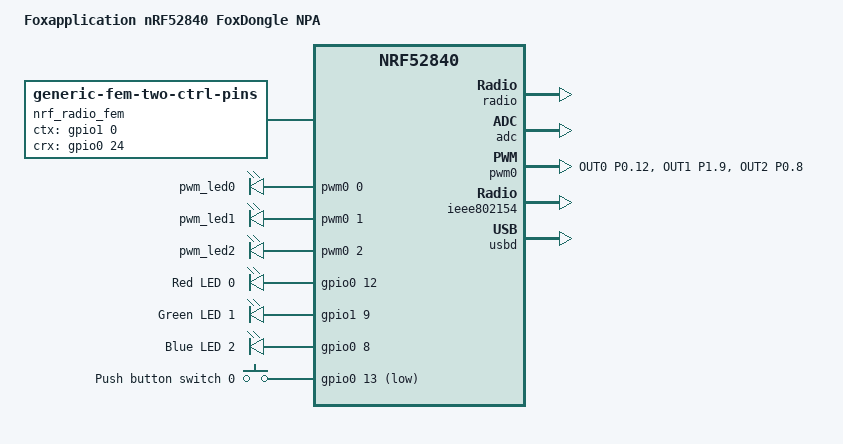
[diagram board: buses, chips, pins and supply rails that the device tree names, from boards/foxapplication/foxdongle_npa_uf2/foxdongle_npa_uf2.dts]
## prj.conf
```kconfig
#CONFIG_NCS_SAMPLES_DEFAULTS
CONFIG_ASSERT=y
CONFIG_ASSERT_NO_COND_INFO=y
CONFIG_ASSERT_NO_MSG_INFO=y
CONFIG_RESET_ON_FATAL_ERROR=n
CONFIG_REBOOT=y

CONFIG_NCS_APPLICATION_BOOT_BANNER_STRING="SlimeVR-Tracker-nRF-Receiver"
#CONFIG_NCS_BOOT_BANNER=n
CONFIG_BOOT_BANNER=n

# HEX carries mapped-partition addresses for native UF2 generation.
CONFIG_BUILD_OUTPUT_HEX=y

CONFIG_ESB=y
CONFIG_PICOLIBC=y
CONFIG_CBPRINTF_FP_SUPPORT=y

CONFIG_FPU=y

CONFIG_USB_DEVICE_STACK_NEXT=y
CONFIG_USBD_HID_SUPPORT=y
CONFIG_USBD_CDC_ACM_CLASS=y
CONFIG_CDC_ACM_SERIAL_INITIALIZE_AT_BOOT=n
CONFIG_SLIMEVR_USB_DEVICE_VID=0x1209
CONFIG_SLIMEVR_USB_DEVICE_PID=0x7690
CONFIG_UART_INTERRUPT_DRIVEN=y
#CONFIG_USB_WORKQUEUE_STACK_SIZE=512

CONFIG_SERIAL=y
CONFIG_CONSOLE=y
CONFIG_UART_CONSOLE=y
CONFIG_UART_LINE_CTRL=y

CONFIG_USE_SEGGER_RTT=y
CONFIG_LOG=y
#CONFIG_PRINTK=y
CONFIG_LOG_MODE_DEFERRED=y
CONFIG_LOG_SPEED=y
CONFIG_LOG_BACKEND_RTT=y
CONFIG_USBD_LOG_LEVEL_WRN=y
CONFIG_UDC_DRIVER_LOG_LEVEL_WRN=y
CONFIG_USBD_CDC_ACM_LOG_LEVEL_OFF=y
CONFIG_UDC_BUF_POOL_SIZE=8192
CONFIG_LOG_BUFFER_SIZE=4096
CONFIG_LOG_PROCESS_THREAD_SLEEP_MS=100
CONFIG_LOG_PROCESS_THREAD_STACK_SIZE=1024
CONFIG_LOG_PROCESS_THREAD_STARTUP_DELAY_MS=0

CONFIG_LOG_BACKEND_UART=y
CONFIG_LOG_BACKEND_UART_AUTOSTART=n
CONFIG_LOG_MODE_DEFERRED=y

CONFIG_CONSOLE_SUBSYS=y

CONFIG_NVS_LOG_LEVEL_WRN=y
CONFIG_USBD_HID_LOG_LEVEL_WRN=y

CONFIG_USBD_HID_IN_BUF_COUNT=4
CONFIG_USBD_HID_OUT_BUF_COUNT=4

CONFIG_GPIO=y
CONFIG_PWM=y

CONFIG_NVS=y

CONFIG_FLASH=y
CONFIG_FLASH_PAGE_LAYOUT=y
CONFIG_FLASH_MAP=y
CONFIG_USE_DT_CODE_PARTITION=y

CONFIG_SETTINGS=y
CONFIG_SETTINGS_NVS=y
CONFIG_SETTINGS_RUNTIME=y
CONFIG_SETTINGS_NONE=y

CONFIG_MPU_ALLOW_FLASH_WRITE=y

CONFIG_NVS_LOOKUP_CACHE=y

CONFIG_ESB_MAX_PAYLOAD_LENGTH=72
CONFIG_ESB_TX_FIFO_SIZE=16
CONFIG_ESB_RX_FIFO_SIZE=16
# CONFIG_NRFX_TIMER1=y

#speed up boot? (use internal rc oscillator)
#CONFIG_CLOCK_CONTROL_NRF_K32SRC_RC=y
#speed up boot? (synthesize lf clock)
CONFIG_CLOCK_CONTROL_NRF_K32SRC_SYNTH=y

# dont need it
CONFIG_CRYPTO=n

CONFIG_THREAD_NAME=y
CONFIG_SYSTEM_WORKQUEUE_STACK_SIZE=2048
CONFIG_MAIN_STACK_SIZE=2048

#CONFIG_HEAP_MEM_POOL_SIZE=2048
CONFIG_ISR_STACK_SIZE=1024

CONFIG_RADIO_RF_CHANNEL=84
CONFIG_RADIO_RETRANSMIT_DELAY=310
CONFIG_RADIO_TX_POWER=30

# Disabled while diagnosing a boot-time crash on foxdongle_npa_uf2 (nRF52840):
# device loops on the blue LED and never enumerates over USB. LTO combined with
# local ISR table declaration is a known-fragile pairing in NCS and can corrupt
# interrupt wiring / fault before USB comes up. These only saved firmware size,
# and all boards built fine before they were added (be26058).
#CONFIG_LTO=y
#CONFIG_ISR_TABLES_LOCAL_DECLARATION=y
```

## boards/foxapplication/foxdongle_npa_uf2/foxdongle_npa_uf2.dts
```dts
// Copyright (c) 2024 Nordic Semiconductor ASA
// SPDX-License-Identifier: Apache-2.0

/dts-v1/;
#include <nordic/nrf52840_qiaa.dtsi>
#include <zephyr/dt-bindings/input/input-event-codes.h>

&pinctrl {
	pwm0_default: pwm0_default {
		group1 {
			/* Common-cathode RGB LED (active high): R=P0.12, G=P1.09, B=P0.08 */
			psels = <NRF_PSEL(PWM_OUT0, 0, 12)>,<NRF_PSEL(PWM_OUT1, 1, 9)>,<NRF_PSEL(PWM_OUT2, 0, 8)>;
			nordic,drive-mode = <NRF_DRIVE_D0S1>;
		};
	};

	pwm0_sleep: pwm0_sleep {
		group1 {
			psels = <NRF_PSEL(PWM_OUT0, 0, 12)>,<NRF_PSEL(PWM_OUT1, 1, 9)>,<NRF_PSEL(PWM_OUT2, 0, 8)>;
			low-power-enable;
		};
	};
};

/ {
	model = "Foxapplication nRF52840 FoxDongle NPA";
	compatible = "foxdongle_npa_uf2";

	chosen {
		zephyr,console = &cdc_acm_uart;
		zephyr,shell-uart = &cdc_acm_uart;
		zephyr,uart-mcumgr = &cdc_acm_uart;
		zephyr,bt-mon-uart = &cdc_acm_uart;
		zephyr,bt-c2h-uart = &cdc_acm_uart;
		zephyr,sram = &sram0;
		zephyr,flash = &flash0;
		zephyr,ieee802154 = &ieee802154;
	};

	/* Skyworks RFX2401C front-end module (TX_EN / RX_EN two-pin control) */
	nrf_radio_fem: radio_fem {
		compatible = "generic-fem-two-ctrl-pins";
		ctx-gpios = <&gpio1 0 GPIO_ACTIVE_HIGH>;
		ctx-settle-time-us = <23>;
		crx-gpios = <&gpio0 24 GPIO_ACTIVE_HIGH>;
		crx-settle-time-us = <8>;
		tx-gain-db = <22>;
		rx-gain-db = <12>;
	};

	pwmleds {
		compatible = "pwm-leds";
		pwm_led0: pwm_led_0 {
			pwms = <&pwm0 0 PWM_MSEC(1) PWM_POLARITY_NORMAL>;
		};
		pwm_led1: pwm_led_1 {
			pwms = <&pwm0 1 PWM_MSEC(1) PWM_POLARITY_NORMAL>;
		};
		pwm_led2: pwm_led_2 {
			pwms = <&pwm0 2 PWM_MSEC(1) PWM_POLARITY_NORMAL>;
		};
	};
	leds {
		compatible = "gpio-leds";
		led0: led_0 {
			gpios = <&gpio0 12 GPIO_OPEN_SOURCE>;
			label = "Red LED 0";
		};
		led1: led_1 {
			gpios = <&gpio1 9 GPIO_OPEN_SOURCE>;
			label = "Green LED 1";
		};
		led2: led_2 {
			gpios = <&gpio0 8 GPIO_OPEN_SOURCE>;
			label = "Blue LED 2";
		};
	};

	buttons {
		compatible = "gpio-keys";
		button0: button_0 {
			gpios = <&gpio0 13 (GPIO_PULL_UP | GPIO_ACTIVE_LOW)>;
			label = "Push button switch 0";
			zephyr,code = <INPUT_KEY_0>;
		};
	};

	aliases {
		sw0 = &button0;
		pwm-led0 = &pwm_led0;
		pwm-led1 = &pwm_led1;
		pwm-led2 = &pwm_led2;
		led0 = &led0;
		led1 = &led1;
		led2 = &led2;
		watchdog0 = &wdt0;
	};
};

&reg0 {
	status = "disabled";
};

&reg1 {
	regulator-initial-mode = <NRF5X_REG_MODE_LDO>;
};

&radio {
	fem = <&nrf_radio_fem>;
};

&adc {
	status = "okay";
};

&gpio0 {
	status = "okay";
};

&gpio1 {
	status = "okay";
};

&gpiote {
	status = "okay";
};

&uicr {
	nfct-pins-as-gpios;
	gpio-as-nreset;
};

&pwm0 {
	status = "okay";
	pinctrl-0 = <&pwm0_default>;
	pinctrl-1 = <&pwm0_sleep>;
	pinctrl-names = "default", "sleep";
};

&ieee802154 {
	status = "okay";
};

zephyr_udc0: &usbd {
	compatible = "nordic,nrf-usbd";
	status = "okay";

	cdc_acm_uart: cdc_acm_uart {
		compatible = "zephyr,cdc-acm-uart";
	};
};

&cryptocell {
	status = "disabled";
};

&nfct {
	status = "disabled";
};
```

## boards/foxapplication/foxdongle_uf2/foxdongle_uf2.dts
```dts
// Copyright (c) 2024 Nordic Semiconductor ASA
// SPDX-License-Identifier: Apache-2.0

/dts-v1/;
#include <nordic/nrf52840_qiaa.dtsi>
#include <zephyr/dt-bindings/input/input-event-codes.h>

&pinctrl {
	pwm0_default: pwm0_default {
		group1 {
			/* channel order must match firmware led_pwm_period: ch0=red, ch1=green, ch2=blue */
			psels = <NRF_PSEL(PWM_OUT0, 0, 12)>,<NRF_PSEL(PWM_OUT1, 1, 9)>,<NRF_PSEL(PWM_OUT2, 0, 8)>;
			nordic,drive-mode = <NRF_DRIVE_D0S1>;
		};
	};

	pwm0_sleep: pwm0_sleep {
		group1 {
			psels = <NRF_PSEL(PWM_OUT0, 0, 12)>,<NRF_PSEL(PWM_OUT1, 1, 9)>,<NRF_PSEL(PWM_OUT2, 0, 8)>;
			low-power-enable;
		};
	};
};

/ {
	model = "Foxapplication nRF52840 FoxDongle";
	compatible = "foxdongle_uf2";

	chosen {
		zephyr,console = &cdc_acm_uart;
		zephyr,shell-uart = &cdc_acm_uart;
		zephyr,uart-mcumgr = &cdc_acm_uart;
		zephyr,bt-mon-uart = &cdc_acm_uart;
		zephyr,bt-c2h-uart = &cdc_acm_uart;
		zephyr,sram = &sram0;
		zephyr,flash = &flash0;
		zephyr,ieee802154 = &ieee802154;
	};

	nrf_radio_fem: skyFem {
		compatible = "skyworks,sky66112-11", "radio-fem-two-ctrl-pins";
		ctx-gpios = <&gpio1 0 GPIO_ACTIVE_HIGH>;
		ctx-settle-time-us = <23>;
		crx-gpios = <&gpio0 24 GPIO_ACTIVE_HIGH>;
		crx-settle-time-us = <8>;
		tx-gain-db = <22>;
		rx-gain-db = <12>;
	};

	leds {
		compatible = "gpio-leds";
		led0_green: led_0 {
			gpios = <&gpio1 9 GPIO_ACTIVE_HIGH>;
			label = "Green LED 0";
		};
		led1_red: led_1 {
			gpios = <&gpio0 12 GPIO_ACTIVE_HIGH>;
			label = "Red LED 1";
		};
		led2_blue: led_2 {
			gpios = <&gpio0 8 GPIO_ACTIVE_HIGH>;
			label = "Blue LED 2";
		};
	};


	pwmleds {
		compatible = "pwm-leds";
		/* active-high LEDs: use normal polarity so value 0 = off */
		red_pwm_led: pwm_led_0 {
			pwms = <&pwm0 0 PWM_MSEC(1) PWM_POLARITY_NORMAL>;
		};
		green_pwm_led: pwm_led_1 {
			pwms = <&pwm0 1 PWM_MSEC(1) PWM_POLARITY_NORMAL>;
		};
		blue_pwm_led: pwm_led_2 {
			pwms = <&pwm0 2 PWM_MSEC(1) PWM_POLARITY_NORMAL>;
		};
	};

	buttons {
		compatible = "gpio-keys";
		button0: button_0 {
			gpios = <&gpio0 13 (GPIO_PULL_UP | GPIO_ACTIVE_LOW)>;
			label = "Push button switch 0";
			zephyr,code = <INPUT_KEY_0>;
		};
	};

	aliases {
		sw0 = &button0;
		led0 = &led0_green;
		led1 = &led1_red;
		led2 = &led2_blue;
		led0-green = &led0_green;
		led1-red   = &led1_red;
		led2-blue   = &led2_blue;
		pwm-led0 = &red_pwm_led;
		pwm-led1 = &green_pwm_led;
		pwm-led2 = &blue_pwm_led;
		red-pwm-led = &red_pwm_led;
		green-pwm-led = &green_pwm_led;
		blue-pwm-led = &blue_pwm_led;
		watchdog0 = &wdt0;
	};
};

&reg0 {
	status = "disabled";
};

&reg1 {
	regulator-initial-mode = <NRF5X_REG_MODE_LDO>;
};

&radio {
	fem = <&nrf_radio_fem>;
};

&adc {
	status = "okay";
};

&gpio0 {
	status = "okay";
};

&gpio1 {
	status = "okay";
};

&gpiote {
	status = "okay";
};

&uicr {
	nfct-pins-as-gpios;
	gpio-as-nreset;
};

&pwm0 {
	status = "okay";
	pinctrl-0 = <&pwm0_default>;
	pinctrl-1 = <&pwm0_sleep>;
	pinctrl-names = "default", "sleep";
};

&ieee802154 {
	status = "okay";
};

zephyr_udc0: &usbd {
	compatible = "nordic,nrf-usbd";
	status = "okay";
	cdc_acm_uart: cdc_acm_uart {
		compatible = "zephyr,cdc-acm-uart";
	};
};

&cryptocell {
	status = "disabled";
};

&nfct {
	status = "disabled";
};
```

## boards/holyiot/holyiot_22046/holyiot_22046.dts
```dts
// Copyright (c) 2024 Nordic Semiconductor ASA
// SPDX-License-Identifier: Apache-2.0

/dts-v1/;
#include <nordic/nrf52840_qiaa.dtsi>
#include <zephyr/dt-bindings/input/input-event-codes.h>

&pinctrl {
	pwm0_default: pwm0_default {
		group1 {
			psels = <NRF_PSEL(PWM_OUT0, 0, 8)>,
				<NRF_PSEL(PWM_OUT1, 1, 9)>,
				<NRF_PSEL(PWM_OUT2, 0, 12)>;
			nordic,invert;
		};
	};

	pwm0_sleep: pwm0_sleep {
		group1 {
			psels = <NRF_PSEL(PWM_OUT0, 0, 8)>,
				<NRF_PSEL(PWM_OUT1, 1, 9)>,
				<NRF_PSEL(PWM_OUT2, 0, 12)>;
			low-power-enable;
		};
	};
};

/ {
	model = "Holyiot nRF52840 Dongle Holyiot-22046";
	compatible = "nordic,nrf52840-dongle-nrf52840";

	chosen {
		zephyr,console = &cdc_acm_uart;
		zephyr,shell-uart = &cdc_acm_uart;
		zephyr,uart-mcumgr = &cdc_acm_uart;
		zephyr,bt-mon-uart = &cdc_acm_uart;
		zephyr,bt-c2h-uart = &cdc_acm_uart;
		zephyr,sram = &sram0;
		zephyr,flash = &flash0;
		zephyr,ieee802154 = &ieee802154;
	};

	leds {
		compatible = "gpio-leds";
		led0_green: led_0 {
			gpios = <&gpio0 6 GPIO_ACTIVE_LOW>;
			label = "Green LED 0";
		};
		led1_red: led_1 {
			gpios = <&gpio0 8 GPIO_ACTIVE_LOW>;
			label = "Red LED 1";
		};
		led1_green: led_2 {
			gpios = <&gpio1 9 GPIO_ACTIVE_LOW>;
			label = "Green LED 1";
		};
		led1_blue: led_3 {
			gpios = <&gpio0 12 GPIO_ACTIVE_LOW>;
			label = "Blue LED 1";
		};
	};

	pwmleds {
		compatible = "pwm-leds";
		red_pwm_led: pwm_led_0 {
			pwms = <&pwm0 0 PWM_MSEC(1) PWM_POLARITY_INVERTED>;
		};
		green_pwm_led: pwm_led_1 {
			pwms = <&pwm0 1 PWM_MSEC(1) PWM_POLARITY_INVERTED>;
		};
		blue_pwm_led: pwm_led_2 {
			pwms = <&pwm0 2 PWM_MSEC(1) PWM_POLARITY_INVERTED>;
		};
	};

	aliases {
		led0 = &led0_green;
		led1 = &led1_red;
		led2 = &led1_green;
		led3 = &led1_blue;
		led0-green = &led0_green;
		led1-red   = &led1_red;
		led1-green = &led1_green;
		led1-blue  = &led1_blue;
		pwm-led0 = &red_pwm_led;
		pwm-led1 = &green_pwm_led;
		pwm-led2 = &blue_pwm_led;
		red-pwm-led = &red_pwm_led;
		green-pwm-led = &green_pwm_led;
		blue-pwm-led = &blue_pwm_led;
		mcuboot-led0 = &led0_green;
		watchdog0 = &wdt0;
	};
};

&reg0 {
    status = "disabled";
};

&reg1 {
    regulator-initial-mode = <NRF5X_REG_MODE_LDO>;
};

&adc {
	status = "okay";
};

&gpiote {
	status = "okay";
};

&uicr {
	nfct-pins-as-gpios;
	gpio-as-nreset;
};

&gpio0 {
	status = "okay";
};

&gpio1 {
	status = "okay";
};

&pwm0 {
	status = "okay";
	pinctrl-0 = <&pwm0_default>;
	pinctrl-1 = <&pwm0_sleep>;
	pinctrl-names = "default", "sleep";
};

&ieee802154 {
	status = "okay";
};

zephyr_udc0: &usbd {
	compatible = "nordic,nrf-usbd";
	status = "okay";

	cdc_acm_uart: cdc_acm_uart {
		compatible = "zephyr,cdc-acm-uart";
	};
};
```

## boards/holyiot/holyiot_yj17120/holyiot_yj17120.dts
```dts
// HolyIOT YJ-17120 nRF52840 USB Dongle (no PA / no FEM).
//
// Derived from SlimeVR's holyiot_21017 board, with the external Skyworks
// front-end module (FEM/PA) REMOVED. This dongle is a plain nRF52840-QIAA with
// a chip antenna and NO power amplifier (confirmed from the manufacturer
// schematic in firmware/docs/). Flashing the 21017 target onto it configures
// the radio for a +22 dB external amplifier that isn't present and toggles
// P0.24/P0.22 as PA-control pins, collapsing usable range to ~10 cm.
//
// SPDX-License-Identifier: Apache-2.0

/dts-v1/;
#include <nordic/nrf52840_qiaa.dtsi>
#include <zephyr/dt-bindings/input/input-event-codes.h>

/ {
	model = "Holyiot YJ-17120 nRF52840 Dongle";
	compatible = "nordic,nrf52840-dongle-nrf52840";

	chosen {
		zephyr,console = &cdc_acm_uart;
		zephyr,shell-uart = &cdc_acm_uart;
		zephyr,uart-mcumgr = &cdc_acm_uart;
		zephyr,bt-mon-uart = &cdc_acm_uart;
		zephyr,bt-c2h-uart = &cdc_acm_uart;
		zephyr,sram = &sram0;
		zephyr,flash = &flash0;
		zephyr,ieee802154 = &ieee802154;
	};

	// No nrf_radio_fem node: this board has no external PA/LNA. The radio
	// drives the chip antenna directly. ESB/RADIO TX power is set by the
	// SlimeNRF application to the nRF52840 internal maximum (+8 dBm).

	leds {
		compatible = "gpio-leds";
		// Single red LED: P1.01 -> 510R -> LED -> GND (anode to GPIO),
		// so driving the pin HIGH lights it. (Per YJ-17120 schematic.)
		led0_red: led_0 {
			gpios = <&gpio1 1 GPIO_ACTIVE_HIGH>;
			label = "Red LED 0";
		};
	};

	buttons {
		compatible = "gpio-keys";
		// The YJ-17120 has no user button populated; expose the RESET-adjacent
		// SWD only. Keep a placeholder alias-free so builds that require sw0
		// still need attention rather than silently using a wrong pin.
	};

	aliases {
		led0 = &led0_red;
		watchdog0 = &wdt0;
	};
};

&reg1 {
	regulator-initial-mode = <NRF5X_REG_MODE_LDO>;
};

// &radio intentionally has NO `fem` property — direct-drive antenna.

&gpiote {
	status = "okay";
};

&uicr {
	nfct-pins-as-gpios;
	gpio-as-nreset;
};

&gpio0 {
	status = "okay";
};

&gpio1 {
	status = "okay";
};

&ieee802154 {
	status = "okay";
};

zephyr_udc0: &usbd {
	compatible = "nordic,nrf-usbd";
	status = "okay";

	cdc_acm_uart: cdc_acm_uart {
		compatible = "zephyr,cdc-acm-uart";
	};
};
```

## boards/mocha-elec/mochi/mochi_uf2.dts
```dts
// Copyright (c) 2024 Nordic Semiconductor ASA
// SPDX-License-Identifier: Apache-2.0

/dts-v1/;
#include <nordic/nrf52833_qiaa.dtsi>
#include <zephyr/dt-bindings/input/input-event-codes.h>

&pinctrl {
	pwm0_default: pwm0_default {
		group1 {
			/* channel order must match firmware led_pwm_period: ch0=red, ch1=green, ch2=blue */
			psels = <NRF_PSEL(PWM_OUT0, 0, 20)>,<NRF_PSEL(PWM_OUT1, 0, 9)>,<NRF_PSEL(PWM_OUT2, 0, 17)>;
			nordic,drive-mode = <NRF_DRIVE_D0S1>;
		};
	};

	pwm0_sleep: pwm0_sleep {
		group1 {
			psels = <NRF_PSEL(PWM_OUT0, 0, 20)>,<NRF_PSEL(PWM_OUT1, 0, 9)>,<NRF_PSEL(PWM_OUT2, 0, 17)>;
			low-power-enable;
		};
	};
};

/ {
	model = "Mocha-Elec Mochi nRF52833 Receiver";
	compatible = "mochi_uf2";

	chosen {
		zephyr,console = &cdc_acm_uart;
		zephyr,shell-uart = &cdc_acm_uart;
		zephyr,uart-mcumgr = &cdc_acm_uart;
		zephyr,bt-mon-uart = &cdc_acm_uart;
		zephyr,bt-c2h-uart = &cdc_acm_uart;
		zephyr,sram = &sram0;
		zephyr,flash = &flash0;
		zephyr,ieee802154 = &ieee802154;
	};

	leds {
		compatible = "gpio-leds";
		led0_red: led_0 {
			gpios = <&gpio0 20 GPIO_OPEN_SOURCE>;
			label = "Red LED 0";
		};
		led1_green: led_1 {
			gpios = <&gpio0 9 GPIO_OPEN_SOURCE>;
			label = "Green LED 1";
		};
		led2_blue: led_2 {
			gpios = <&gpio0 17 GPIO_OPEN_SOURCE>;
			label = "Blue LED 2";
		};
	};

	pwmleds {
		compatible = "pwm-leds";
		/* active-high LEDs: use normal polarity so value 0 = off */
		red_pwm_led: pwm_led_0 {
			pwms = <&pwm0 0 PWM_MSEC(1) PWM_POLARITY_NORMAL>;
		};
		green_pwm_led: pwm_led_1 {
			pwms = <&pwm0 1 PWM_MSEC(1) PWM_POLARITY_NORMAL>;
		};
		blue_pwm_led: pwm_led_2 {
			pwms = <&pwm0 2 PWM_MSEC(1) PWM_POLARITY_NORMAL>;
		};
	};

	buttons {
		compatible = "gpio-keys";
		button0: button_0 {
			gpios = <&gpio0 15 (GPIO_PULL_UP | GPIO_ACTIVE_LOW)>;
			label = "Push button switch 0";
			zephyr,code = <INPUT_KEY_0>;
		};
	};

	aliases {
		sw0 = &button0;
		led0 = &led0_red;
		led1 = &led1_green;
		led2 = &led2_blue;
		led0-red   = &led0_red;
		led1-green = &led1_green;
		led2-blue  = &led2_blue;
		pwm-led0 = &red_pwm_led;
		pwm-led1 = &green_pwm_led;
		pwm-led2 = &blue_pwm_led;
		red-pwm-led = &red_pwm_led;
		green-pwm-led = &green_pwm_led;
		blue-pwm-led = &blue_pwm_led;
		watchdog0 = &wdt0;
	};
};

&reg1 {
	regulator-initial-mode = <NRF5X_REG_MODE_DCDC>;
};

&adc {
	status = "okay";
};

&gpio0 {
	status = "okay";
};

&gpio1 {
	status = "okay";
};

&gpiote {
	status = "okay";
};

&uicr {
	/* green LED sits on P0.09 (NFC1) */
	nfct-pins-as-gpios;
};

&pwm0 {
	status = "okay";
	pinctrl-0 = <&pwm0_default>;
	pinctrl-1 = <&pwm0_sleep>;
	pinctrl-names = "default", "sleep";
};

&ieee802154 {
	status = "okay";
};

zephyr_udc0: &usbd {
	compatible = "nordic,nrf-usbd";
	status = "okay";
	cdc_acm_uart: cdc_acm_uart {
		compatible = "zephyr,cdc-acm-uart";
	};
};

&nfct {
	status = "disabled";
};
```

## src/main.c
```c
/*
	SlimeVR Code is placed under the MIT license
	Copyright (c) 2025 SlimeVR Contributors

	Permission is hereby granted, free of charge, to any person obtaining a copy
	of this software and associated documentation files (the "Software"), to deal
	in the Software without restriction, including without limitation the rights
	to use, copy, modify, merge, publish, distribute, sublicense, and/or sell
	copies of the Software, and to permit persons to whom the Software is
	furnished to do so, subject to the following conditions:

	The above copyright notice and this permission notice shall be included in
	all copies or substantial portions of the Software.

	THE SOFTWARE IS PROVIDED "AS IS", WITHOUT WARRANTY OF ANY KIND, EXPRESS OR
	IMPLIED, INCLUDING BUT NOT LIMITED TO THE WARRANTIES OF MERCHANTABILITY,
	FITNESS FOR A PARTICULAR PURPOSE AND NONINFRINGEMENT. IN NO EVENT SHALL THE
	AUTHORS OR COPYRIGHT HOLDERS BE LIABLE FOR ANY CLAIM, DAMAGES OR OTHER
	LIABILITY, WHETHER IN AN ACTION OF CONTRACT, TORT OR OTHERWISE, ARISING FROM,
	OUT OF OR IN CONNECTION WITH THE SOFTWARE OR THE USE OR OTHER DEALINGS IN
	THE SOFTWARE.
*/
#include "globals.h"
#include "system/system.h"
#include "system/led.h"
#include "system/status.h"
#include "connection/esb.h"

#include <zephyr/kernel.h>
#include <zephyr/sys/reboot.h>

#define DFU_EXISTS CONFIG_BUILD_OUTPUT_UF2 || CONFIG_BOARD_HAS_NRF5_BOOTLOADER
#define DFU_DBL_RESET_MEM 0x20007F7C
#define DFU_DBL_RESET_APP 0x4ee5677e

LOG_MODULE_REGISTER(main, LOG_LEVEL_INF);

int main(void)
{
	// Initialize LED system first
	set_led(SYS_LED_PATTERN_ACTIVE_PERSIST, SYS_LED_PRIORITY_SYSTEM);

	// Boot sequence with button detection
	set_led(SYS_LED_PATTERN_ON, SYS_LED_PRIORITY_BOOT);

	uint8_t reboot_counter = reboot_counter_read();
	bool booting_from_shutdown = !reboot_counter;

	// Check if button is pressed during boot
	if (button_read())
	{
		LOG_INF("Button detected during boot");
		int64_t boot_start = k_uptime_get();

		while (button_read())
		{
			int64_t held = k_uptime_get() - boot_start;
			if (held > 5000)
			{
				// Factory reset: the only destructive action, gated behind a
				// deliberate hold-while-plugging-in. Red LED is the commit signal.
				LOG_INF("Boot-time factory reset (clear all pairings)");
				set_led(SYS_LED_PATTERN_ERROR_D, SYS_LED_PRIORITY_HIGHEST);
				esb_clear();
				break;
			}
			if (held > 1000)
				set_led(SYS_LED_PATTERN_LONG, SYS_LED_PRIORITY_HIGHEST);
			k_msleep(10);
		}

		if (k_uptime_get() - boot_start > 5000)
			set_led(SYS_LED_PATTERN_ONESHOT_COMPLETE, SYS_LED_PRIORITY_HIGHEST);
		else if (k_uptime_get() - boot_start > 50) // Short press during boot
			set_led(SYS_LED_PATTERN_ONESHOT_POWERON, SYS_LED_PRIORITY_HIGHEST);
	}
	else if (booting_from_shutdown)
	{
		set_led(SYS_LED_PATTERN_ONESHOT_POWERON, SYS_LED_PRIORITY_BOOT);
	}

	// Clear boot LED priority
	set_led(SYS_LED_PATTERN_OFF, SYS_LED_PRIORITY_BOOT);

	return 0;
}
```

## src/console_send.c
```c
/*
	SlimeVR Code is placed under the MIT license
	Copyright (c) 2025 SlimeVR Contributors

	Permission is hereby granted, free of charge, to any person obtaining a copy
	of this software and associated documentation files (the "Software"), to deal
	in the Software without restriction, including without limitation the rights
	to use, copy, modify, merge, publish, distribute, sublicense, and/or sell
	copies of the Software, and to permit persons to whom the Software is
	furnished to do so, subject to the following conditions:

	The above copyright notice and this permission notice shall be included in
	all copies or substantial portions of the Software.

	THE SOFTWARE IS PROVIDED "AS IS", WITHOUT WARRANTY OF ANY KIND, EXPRESS OR
	IMPLIED, INCLUDING BUT NOT LIMITED TO THE WARRANTIES OF MERCHANTABILITY,
	FITNESS FOR A PARTICULAR PURPOSE AND NONINFRINGEMENT. IN NO EVENT SHALL THE
	AUTHORS OR COPYRIGHT HOLDERS BE LIABLE FOR ANY CLAIM, DAMAGES OR OTHER
	LIABILITY, WHETHER IN AN ACTION OF CONTRACT, TORT OR OTHERWISE, ARISING FROM,
	OUT OF OR IN CONNECTION WITH THE SOFTWARE OR THE USE OR OTHER DEALINGS IN
	THE SOFTWARE.
*/
#include "console_send.h"

#include "rcv_cmd.h"

#include <stdlib.h>
#include <string.h>
#include <zephyr/sys/printk.h>

#define SENS_AUTO_MAX_REVOLUTIONS 100

static void console_send_flag(bool target_all, uint8_t tracker_id, uint8_t flag, const char *name)
{
	uint8_t tid = target_all ? RCV_HID_TARGET_ALL : tracker_id;
	uint8_t st = rcv_cmd_remote_flag(tid, flag);
	if (st == RCV_HID_ST_QUEUED) {
		if (target_all) {
			printk("%s request sent to all active trackers\n", name);
		} else {
			printk("%s request sent to tracker %d\n", name, tracker_id);
		}
	} else {
		printk("%s failed: status %u\n", name, st);
	}
}

void console_handle_send(char *arg, char *arg2, char *arg3, char *arg4, char *arg5)
{
	if (!arg || !arg2) {
		printk("Usage: send <id|all> <command>\n");
		printk("Examples:\n");
		printk("  send 0 shutdown      - Shutdown tracker 0\n");
		printk("  send all shutdown    - Shutdown all active trackers\n");
		printk("  send 1 calibrate     - Zero-bias calibration on tracker 1\n");
		printk("  send 1 calibrate acc - Accelerometer calibration (18 orientations)\n");
		printk("  send all meow        - Make all active trackers meow\n");
		printk("  send 2 reboot        - Reboot tracker 2\n");
		printk("  send 3 clear         - Clear pairing on tracker 3\n");
		printk("  send all dfu         - Enter DFU mode on all active trackers\n");
		printk(
			"Available commands: shutdown, calibrate [acc], meow, scan, mag, reboot, clear, dfu, sens, "
			"reset, ping, tcal, tdma, test, wom enter, wom timeout [minutes]\n"
		);
		return;
	}

	bool target_all = (strcmp(arg, "all") == 0);
	uint8_t tracker_id = 0;

	if (!target_all) {
		char *endptr;
		long id = strtol(arg, &endptr, 10);

		if (*endptr != '\0' || id < 0 || id > 255) {
			printk("Invalid tracker ID. Use a number (0-255) or 'all'\n");
			return;
		}
		tracker_id = (uint8_t)id;
	}

	if (strcmp(arg2, "wom") == 0) {
		bool enter = arg3 && strcmp(arg3, "enter") == 0;
		if (!arg3 || (!enter && strcmp(arg3, "timeout") != 0) ||
		    arg5 || (enter && arg4)) {
			printk("Usage: send <id|all> wom enter | wom timeout [minutes: 0-35791; 0 restores firmware default]\n");
			return;
		}
		uint32_t minutes = enter ? ESB_WOM_ENTER : 0;
		if (arg4) {
			if (!*arg4) {
				printk("Minutes must be an integer from 0 to 35791 (0 restores firmware default)\n");
				return;
			}
			for (const char *p = arg4; *p; p++) {
				if (*p < '0' || *p > '9' || minutes > 35791) {
					printk("Minutes must be an integer from 0 to 35791 (0 restores firmware default)\n");
					return;
				}
				minutes = minutes * 10 + (uint32_t)(*p - '0');
			}
			if (minutes > 35791) {
				printk("Minutes must be an integer from 0 to 35791 (0 restores firmware default)\n");
				return;
			}
			if (minutes == 0) {
				minutes = ESB_WOM_TIMEOUT_CLEAR;
			}
		}
		uint8_t st = rcv_cmd_remote_wom_command(
			target_all ? RCV_HID_TARGET_ALL : tracker_id, (uint16_t)minutes);
		if (st == RCV_HID_ST_STARTED) {
			printk("WOM command queued; waiting for tracker results (entry success means accepted, not asleep)\n");
		} else {
			printk("WOM command request failed: status %u\n", st);
		}
		return;
	}

	uint8_t cmd_flag = 0xFF;
	const char *cmd_name = NULL;

	if (strcmp(arg2, "shutdown") == 0) {
		cmd_flag = ESB_PONG_FLAG_SHUTDOWN;
		cmd_name = "Shutdown";
	} else if (strcmp(arg2, "calibrate") == 0) {
		if (arg4 || arg5 || (arg3 && strcmp(arg3, "acc") != 0)) {
			printk("Usage: send <id|all> calibrate [acc]\n");
			return;
		}
		cmd_flag = arg3 ? ESB_PONG_FLAG_CALIBRATE_ACC : ESB_PONG_FLAG_CALIBRATE;
		cmd_name = arg3 ? "Accelerometer calibration (18 orientations)" : "Zero-bias calibration";
	} else if (strcmp(arg2, "6-side") == 0) {
		if (arg3 || arg4 || arg5) {
			printk("Usage: send <id|all> calibrate acc\n");
			return;
		}
		printk("'6-side' is the historical name; use 'calibrate acc' (18 orientations).\n");
		cmd_flag = ESB_PONG_FLAG_CALIBRATE_ACC;
		cmd_name = "Accelerometer calibration (18 orientations)";
	} else if (strcmp(arg2, "meow") == 0) {
		cmd_flag = ESB_PONG_FLAG_MEOW;
		cmd_name = "Meow";
	} else if (strcmp(arg2, "scan") == 0) {
		cmd_flag = ESB_PONG_FLAG_SCAN;
		cmd_name = "Sensor scan";
	} else if (strcmp(arg2, "mag") == 0) {
		if (!arg3) {
			printk("Usage: send <id|all> mag <on|off|clear|cal|auto on|auto off|hold on|hold off>\n");
			printk("  on       - Enable magnetometer\n");
			printk("  off      - Disable magnetometer\n");
			printk("  clear    - Clear magnetometer calibration\n");
			printk("  cal      - Start magnetometer calibration\n");
			printk("  auto on  - Enable online magnetometer calibration\n");
			printk("  auto off - Disable online magnetometer calibration\n");
			printk("  hold on  - Stop the fusion filter trusting the magnetometer\n");
			printk("  hold off - Resume normal magnetometer fusion\n");
			return;
		}

		uint8_t mag_cmd = 0xFF;
		const char *mag_name = NULL;

		if (strcmp(arg3, "on") == 0) {
			mag_cmd = ESB_PONG_FLAG_MAG_ON;
			mag_name = "Magnetometer enable";
		} else if (strcmp(arg3, "off") == 0) {
			mag_cmd = ESB_PONG_FLAG_MAG_OFF;
			mag_name = "Magnetometer disable";
		} else if (strcmp(arg3, "clear") == 0) {
			mag_cmd = ESB_PONG_FLAG_MAG_CLEAR;
			mag_name = "Magnetometer calibration clear";
		} else if (strcmp(arg3, "cal") == 0 || strcmp(arg3, "calibrate") == 0) {
			mag_cmd = ESB_PONG_FLAG_MAG_CAL;
			mag_name = "Magnetometer calibration";
		} else if (strcmp(arg3, "auto") == 0 || strcmp(arg3, "online") == 0) {
			if (!arg4) {
				printk("Usage: send <id|all> mag %s <on|off>\n", arg3);
				return;
			}
			if (strcmp(arg4, "on") == 0) {
				mag_cmd = ESB_PONG_FLAG_MAG_AUTO_ON;
				mag_name = "Online magnetometer calibration enable";
			} else if (strcmp(arg4, "off") == 0) {
				mag_cmd = ESB_PONG_FLAG_MAG_AUTO_OFF;
				mag_name = "Online magnetometer calibration disable";
			} else {
				printk("Invalid mag %s argument: %s (use 'on' or 'off')\n", arg3, arg4);
				return;
			}
		} else if (strcmp(arg3, "hold") == 0) {
			/* Runtime-only: no fusion restart, no NVS write, cleared by a
			 * tracker reboot. Unlike mag on/off this is safe to toggle. */
			if (!arg4) {
				printk("Usage: send <id|all> mag hold <on|off>\n");
				return;
			}
			if (strcmp(arg4, "on") == 0) {
				mag_cmd = ESB_PONG_FLAG_MAG_HOLD;
				mag_name = "Magnetometer hold enable";
			} else if (strcmp(arg4, "off") == 0) {
				mag_cmd = ESB_PONG_FLAG_MAG_UNHOLD;
				mag_name = "Magnetometer hold disable";
			} else {
				printk("Invalid mag hold argument: %s (use 'on' or 'off')\n", arg4);
				return;
			}
		} else {
			printk(
				"Unknown mag subcommand: %s (use 'on', 'off', 'clear', 'cal', 'auto' or 'hold')\n",
				arg3
			);
			return;
		}

		console_send_flag(target_all, tracker_id, mag_cmd, mag_name);
		return;
	} else if (strcmp(arg2, "reboot") == 0) {
		cmd_flag = ESB_PONG_FLAG_REBOOT;
		cmd_name = "Reboot";
	} else if (strcmp(arg2, "clear") == 0) {
		cmd_flag = ESB_PONG_FLAG_CLEAR;
		cmd_name = "Clear pairing";
	} else if (strcmp(arg2, "dfu") == 0) {
		if (arg3 && strcmp(arg3, "ota") == 0) {
			cmd_flag = ESB_PONG_FLAG_DFU_OTA;
			cmd_name = "OTA DFU mode";
		} else if (!arg3) {
			cmd_flag = ESB_PONG_FLAG_DFU;
			cmd_name = "UF2 DFU mode";
		} else {
			printk("Unknown dfu subcommand: %s (use 'ota' or omit it)\n", arg3);
			return;
		}
	} else if (strcmp(arg2, "fusion") == 0) {
		cmd_flag = ESB_PONG_FLAG_FUSION_RESET;
		cmd_name = "Fusion reset";
	} else if (strcmp(arg2, "channel") == 0) {
		if (!arg3) {
			printk("Usage: send all channel <0-100>\n");
			printk("Example: send all channel 25 - Set all active trackers to channel 25\n");
			return;
		}

		char *endptr;
		long channel = strtol(arg3, &endptr, 10);

		if (*endptr != '\0' || channel < 0 || channel > 100) {
			printk("Invalid channel. Must be a number between 0 and 100.\n");
			return;
		}

		if (!target_all) {
			printk("Channel command only supports 'all' target\n");
			return;
		}

		uint8_t st = rcv_cmd_tracker_channel_all((uint8_t)channel);
		if (st == RCV_HID_ST_STARTED || st == RCV_HID_ST_OK) {
			printk("Setting RF channel to %d for all active trackers and receiver\n", (int)channel);
		}
		return;
	} else if (strcmp(arg2, "clearchannel") == 0) {
		if (!target_all) {
			printk("Clearchannel command only supports 'all' target\n");
			return;
		}

		uint8_t st = rcv_cmd_tracker_channel_clear_all();
		if (st == RCV_HID_ST_STARTED || st == RCV_HID_ST_OK) {
			printk("Clearing RF channel for all active trackers and receiver\n");
		}
		return;
	} else if (strcmp(arg2, "sens") == 0) {
		if (!arg3) {
			printk("Usage: send <id|all> sens <x>,<y>,<z>\n");
			printk("Usage: send <id|all> sens reset\n");
			printk("Usage: send <id|all> sens auto <x|y|z> [revolutions]\n");
			printk("Example: send 0 sens 1.0,1.0,1.0\n");
			printk("Example: send all sens reset\n");
			printk("Example: send 0 sens auto z 5\n");
			return;
		}

		if (strcmp(arg3, "reset") == 0) {
			console_send_flag(target_all, tracker_id, ESB_PONG_FLAG_SENS_RESET, "Sens reset");
		} else if (strcmp(arg3, "auto") == 0) {
			if (!arg4 || arg4[0] == '\0') {
				printk("Usage: send <id|all> sens auto <x|y|z> [revolutions]\n");
				return;
			}

			if (arg4[1] != '\0') {
				printk("Usage: send <id|all> sens auto <x|y|z> [revolutions]\n");
				return;
			}

			uint8_t axis;
			if (arg4[0] == 'x') {
				axis = 0;
			} else if (arg4[0] == 'y') {
				axis = 1;
			} else if (arg4[0] == 'z') {
				axis = 2;
			} else {
				printk("Invalid axis '%s'. Use x, y, or z.\n", arg4);
				return;
			}

			uint16_t revolutions = 0;
			if (arg5 && *arg5) {
				char *endptr;
				long value = strtol(arg5, &endptr, 10);
				if (*endptr != '\0' || value < 1 || value > SENS_AUTO_MAX_REVOLUTIONS) {
					printk("Invalid revolutions '%s'. Use 1 to %u.\n", arg5, SENS_AUTO_MAX_REVOLUTIONS);
					return;
				}
				revolutions = (uint16_t)value;
			}

			uint8_t tid = target_all ? RCV_HID_TARGET_ALL : tracker_id;
			uint8_t st = rcv_cmd_remote_sens_auto(tid, axis, revolutions);
			if (st == RCV_HID_ST_QUEUED) {
				if (target_all) {
					if (revolutions == 0) {
						printk(
							"Sens auto request sent to all active trackers on %c axis using tracker "
							"default rev\n",
							'x' + axis
						);
					} else {
						printk(
							"Sens auto request sent to all active trackers on %c axis for %u rev\n",
							'x' + axis,
							revolutions
						);
					}
				} else if (revolutions == 0) {
					printk(
						"Sens auto request sent to tracker %d on %c axis using tracker default rev\n",
						tracker_id,
						'x' + axis
					);
				} else {
					printk(
						"Sens auto request sent to tracker %d on %c axis for %u rev\n",
						tracker_id,
						'x' + axis,
						revolutions
					);
				}
			} else if (!target_all) {
				printk("Sens auto request not queued: tracker %d is not active or invalid\n", tracker_id);
			}
		} else {
			char *token;
			char *endptr;
			int token_count = 0;
			float values[3];

			token = strtok(arg3, ",");
			while (token != NULL && token_count < 3) {
				values[token_count] = strtof(token, &endptr);
				if (token == endptr || *endptr != '\0') {
					printk("Invalid float value: %s\n", token);
					break;
				}
				token_count++;
				token = strtok(NULL, ",");
			}

			if (token_count == 3) {
				uint8_t tid = target_all ? RCV_HID_TARGET_ALL : tracker_id;
				if (rcv_cmd_remote_sens_set(tid, values[0], values[1], values[2]) == RCV_HID_ST_QUEUED) {
					if (target_all) {
						printk(
							"Sens set (%.2f,%.2f,%.2f) request sent to all active trackers\n",
							(double)values[0],
							(double)values[1],
							(double)values[2]
						);
					} else {
						printk(
							"Sens set (%.2f,%.2f,%.2f) request sent to tracker %d\n",
							(double)values[0],
							(double)values[1],
							(double)values[2],
							tracker_id
						);
					}
				}
			} else {
				printk("Error: Invalid format. Use: sens <x>,<y>,<z> or sens reset\n");
				printk("Example: sens 10.5,-2.1,15.0\n");
			}
		}
		return;
	} else if (strcmp(arg2, "reset") == 0) {
		if (!arg3) {
			printk("Usage: send <id|all> reset <zro|acc|bat|mag|tcal|fusion>\n");
			printk("Example: send 0 reset zro\n");
			printk("Example: send all reset acc\n");
			return;
		}

		uint8_t reset_cmd = 0xFF;
		const char *reset_name = NULL;

		if (strcmp(arg3, "zro") == 0) {
			reset_cmd = ESB_PONG_FLAG_RESET_ZRO;
			reset_name = "ZRO reset";
		} else if (strcmp(arg3, "acc") == 0) {
			reset_cmd = ESB_PONG_FLAG_RESET_ACC;
			reset_name = "Accelerometer reset";
		} else if (strcmp(arg3, "bat") == 0) {
			reset_cmd = ESB_PONG_FLAG_RESET_BAT;
			reset_name = "Battery reset";
		} else if (strcmp(arg3, "mag") == 0) {
			reset_cmd = ESB_PONG_FLAG_MAG_CLEAR;
			reset_name = "Magnetometer calibration reset";
		} else if (strcmp(arg3, "tcal") == 0) {
			reset_cmd = ESB_PONG_FLAG_RESET_TCAL;
			reset_name = "Temperature calibration reset";
		} else if (strcmp(arg3, "fusion") == 0) {
			reset_cmd = ESB_PONG_FLAG_FUSION_RESET;
			reset_name = "Fusion reset";
		} else {
			printk("Unknown reset command: %s\n", arg3);
			printk("Available: zro, acc, bat, mag, tcal, fusion\n");
			return;
		}

		console_send_flag(target_all, tracker_id, reset_cmd, reset_name);
		return;
	} else if (strcmp(arg2, "ping") == 0) {
		console_send_flag(target_all, tracker_id, ESB_PONG_FLAG_PING, "Ping");
		return;
	} else if (strcmp(arg2, "tcal") == 0) {
		if (!arg3) {
			printk("Usage: send <id|all> tcal <on|off|auto on|auto off|boot on|boot off|clear|heat start>\n");
			printk("Example: send 0 tcal on       - Enable temperature calibration on tracker 0\n");
			printk(
				"Example: send all tcal off    - Disable temperature calibration on all active trackers\n"
			);
			printk("Example: send 0 tcal auto on  - Enable auto-calibration on tracker 0\n");
			printk("Example: send all tcal auto off - Disable auto-calibration on all active trackers\n");
			printk("Example: send 0 tcal boot on - Enable boot calibration on tracker 0\n");
			printk("Example: send 0 tcal clear - Clear temperature calibration on tracker 0\n");
			printk("Example: send 0 tcal heat start - Request heated calibration at the tracker default target\n");
			printk("Heated-start ACK confirms delivery only, not heating acceptance.\n");
			return;
		}

		if (strcmp(arg3, "heat") == 0) {
			if (!arg4 || strcmp(arg4, "start") != 0 || arg5) {
				printk("Usage: send <id|all> tcal heat start (no target argument)\n");
				return;
			}
			console_send_flag(target_all, tracker_id, ESB_PONG_FLAG_TCAL_HEATED_START, "Heated T-Cal start");
		} else if (strcmp(arg3, "on") == 0) {
			console_send_flag(target_all, tracker_id, ESB_PONG_FLAG_TCAL_ON, "T-Cal enable");
		} else if (strcmp(arg3, "off") == 0) {
			console_send_flag(target_all, tracker_id, ESB_PONG_FLAG_TCAL_OFF, "T-Cal disable");
		} else if (strcmp(arg3, "auto") == 0) {
			if (!arg4) {
				printk("Usage: send <id|all> tcal auto <on|off>\n");
				return;
			}

			uint8_t tcal_cmd = 0xFF;
			const char *tcal_name = NULL;

			if (strcmp(arg4, "on") == 0) {
				tcal_cmd = ESB_PONG_FLAG_TCAL_AUTO_ON;
				tcal_name = "T-Cal auto-calibration enable";
			} else if (strcmp(arg4, "off") == 0) {
				tcal_cmd = ESB_PONG_FLAG_TCAL_AUTO_OFF;
				tcal_name = "T-Cal auto-calibration disable";
			} else {
				printk("Invalid tcal auto argument: %s (use 'on' or 'off')\n", arg4);
				return;
			}

			console_send_flag(target_all, tracker_id, tcal_cmd, tcal_name);
		} else if (strcmp(arg3, "clear") == 0) {
			console_send_flag(target_all, tracker_id, ESB_PONG_FLAG_RESET_TCAL, "T-Cal clear");
		} else if (strcmp(arg3, "boot") == 0) {
			if (!arg4) {
				printk("Usage: send <id|all> tcal boot <on|off>\n");
				return;
			}

			uint8_t tcal_cmd = 0xFF;
			const char *tcal_name = NULL;

			if (strcmp(arg4, "on") == 0) {
				tcal_cmd = ESB_PONG_FLAG_TCAL_BOOT_ON;
				tcal_name = "T-Cal boot-calibration enable";
			} else if (strcmp(arg4, "off") == 0) {
				tcal_cmd = ESB_PONG_FLAG_TCAL_BOOT_OFF;
				tcal_name = "T-Cal boot-calibration disable";
			} else {
				printk("Invalid tcal boot argument: %s (use 'on' or 'off')\n", arg4);
				return;
			}

			console_send_flag(target_all, tracker_id, tcal_cmd, tcal_name);
		} else {
			printk("Unknown tcal subcommand: %s (use 'on', 'off', 'auto', 'boot', 'clear' or 'heat start')\n", arg3);
		}
		return;
	} else if (strcmp(arg2, "tdma") == 0) {
		if (!arg3) {
			printk("Usage: send <id|all> tdma <on|off>\n");
			printk("Example: send 0 tdma on       - Enable TDMA scheduling on tracker 0\n");
			printk("Example: send all tdma off    - Disable TDMA scheduling on all active trackers\n");
			return;
		}

		if (strcmp(arg3, "on") == 0) {
			console_send_flag(target_all, tracker_id, ESB_PONG_FLAG_TDMA_ON, "TDMA enable");
		} else if (strcmp(arg3, "off") == 0) {
			console_send_flag(target_all, tracker_id, ESB_PONG_FLAG_TDMA_OFF, "TDMA disable");
		} else {
			printk("Unknown tdma subcommand: %s (use 'on' or 'off')\n", arg3);
		}
		return;
	} else if (strcmp(arg2, "test") == 0) {
		if (!arg3) {
			printk("Usage: send <id|all> test <on|off> [tps]\n");
			printk("Example: send 0 test on       - Enable test mode on tracker 0 (default rate)\n");
			printk("Example: send all test on 200 - Enable test mode, target 200 TPS\n");
			printk("  TPS is clamped to the tracker's TDMA slot capacity; 0 = built-in default.\n");
			return;
		}

		if (strcmp(arg3, "on") == 0) {
			/* One test-specific command carries the optional TPS (0 =
			 * built-in default) and the ON flag, so the rate is published
			 * before the tracker sees the flag. */
			uint16_t tps = 0;
			if (arg4 && *arg4) {
				char *endptr;
				long v = strtol(arg4, &endptr, 10);
				if (*endptr != '\0' || v < 0 || v > 1000) {
					printk("Invalid TPS. Must be 0-1000 (0 = default).\n");
					return;
				}
				tps = (uint16_t)v;
			}
			uint8_t st = rcv_cmd_remote_test_on(target_all ? RCV_HID_TARGET_ALL : tracker_id, tps);
			if (st == RCV_HID_ST_OK || st == RCV_HID_ST_STARTED) {
				if (target_all) {
					printk(
						"Test mode enable sent to all active trackers (target %u TPS%s)\n",
						tps,
						tps == 0 ? ", built-in default" : ""
					);
				} else {
					printk(
						"Test mode enable sent to tracker %d (target %u TPS%s)\n",
						tracker_id,
						tps,
						tps == 0 ? ", built-in default" : ""
					);
				}
			} else if (st == RCV_HID_ST_ENOENT) {
				printk("Test mode enable failed: no active trackers\n");
			} else {
				printk("Test mode enable failed: status %u\n", st);
			}
		} else if (strcmp(arg3, "off") == 0) {
			uint8_t st = rcv_cmd_remote_test_off(target_all ? RCV_HID_TARGET_ALL : tracker_id);
			if (st == RCV_HID_ST_OK || st == RCV_HID_ST_STARTED) {
				if (target_all) {
					printk("Test mode disable sent to all active trackers\n");
				} else {
					printk("Test mode disable sent to tracker %d\n", tracker_id);
				}
			} else if (st == RCV_HID_ST_ENOENT) {
				printk("Test mode disable failed: no active trackers\n");
			} else {
				printk("Test mode disable failed: status %u\n", st);
			}
		} else {
			printk("Unknown test subcommand: %s (use 'on [tps]' or 'off')\n", arg3);
		}
		return;
	}

	if (cmd_flag != 0xFF) {
		console_send_flag(target_all, tracker_id, cmd_flag, cmd_name);
	} else {
		printk("Unknown command: %s\n", arg2);
		printk(
			"Available commands: shutdown, calibrate [acc], meow, scan, mag, reboot, clear, dfu [ota], "
			"fusion, sens, "
			"reset, ping, tcal, tdma, test\n"
		);
	}
}
```

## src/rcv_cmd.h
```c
/*
	SlimeVR Code is placed under the MIT license
	Copyright (c) 2025 SlimeVR Contributors
*/
#ifndef SLIMENRF_RCV_CMD_H
#define SLIMENRF_RCV_CMD_H

#include <stdbool.h>
#include <stddef.h>
#include <stdint.h>

#include "rcv_hid_cmd.h"

/* Shared command core used by console and HID. Status codes match RCV_HID_ST_*. */

uint8_t rcv_cmd_pair(uint8_t count);
uint8_t rcv_cmd_exit_pair(void);
uint8_t rcv_cmd_clear(void);
uint8_t rcv_cmd_add(uint64_t addr, int8_t *slot_out);
uint8_t rcv_cmd_remove(void);
uint8_t rcv_cmd_list(void);
uint8_t rcv_cmd_channel_set(uint8_t channel);
uint8_t rcv_cmd_channel_clear(void);
uint8_t rcv_cmd_rssi_scan(void);
uint8_t rcv_cmd_info(void);
uint8_t rcv_cmd_uptime(void);
uint8_t rcv_cmd_stats(uint32_t duration_seconds);
uint8_t rcv_cmd_resetstats(void);
uint8_t rcv_cmd_collect_start(uint8_t tracker_id);
uint8_t rcv_cmd_collect_stop(void);
uint8_t rcv_cmd_collect_batch_start(uint16_t rate_hz);
uint8_t rcv_cmd_collect_batch_stop(void);
uint8_t rcv_cmd_reboot(void);
uint8_t rcv_cmd_dfu(bool ota);
uint8_t rcv_cmd_tracker_channel_all(uint8_t channel);
uint8_t rcv_cmd_tracker_channel_clear_all(void);

/* Queue ESB PONG remote flag. target_id RCV_HID_TARGET_ALL = all active.
 * TEST_MODE_ON/OFF are rejected here; use the test-specific helpers below. */
uint8_t rcv_cmd_remote_flag(uint8_t target_id, uint8_t pong_flag);
/* Queue TEST_MODE_ON with optional target TPS (0 = tracker default). */
uint8_t rcv_cmd_remote_test_on(uint8_t target_id, uint16_t tps);
/* Queue TEST_MODE_OFF. */
uint8_t rcv_cmd_remote_test_off(uint8_t target_id);

/* sens set / sens auto helpers */
uint8_t rcv_cmd_remote_sens_set(uint8_t target_id, float x, float y, float z);
uint8_t rcv_cmd_remote_sens_auto(uint8_t target_id, uint8_t axis, uint16_t revolutions);

/*
 * Process one HID type-254 command (first 16 bytes). Writes 16-byte ACK into ack_out.
 * Returns true if ack_out is valid and should be sent.
 */
bool rcv_cmd_process_hid(const uint8_t *buf, size_t len, uint8_t ack_out[RCV_HID_CMD_LEN]);

/* Async completion ACKs (e.g. tracker channel-all). Registered by HID, not console. */
typedef void (*rcv_cmd_async_ack_fn)(const uint8_t ack[RCV_HID_CMD_LEN]);
void rcv_cmd_set_async_ack(rcv_cmd_async_ack_fn fn);

#endif
```

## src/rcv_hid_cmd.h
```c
/*
	SlimeVR Code is placed under the MIT license
	Copyright (c) 2025 SlimeVR Contributors
*/
#ifndef SLIMENRF_RCV_HID_CMD_H
#define SLIMENRF_RCV_HID_CMD_H

#include <stdbool.h>
#include <stdint.h>

#include "connection/esb.h"

/* HID report types (buf[0]). Dongle control envelope / ACK / registration. */
#define RCV_HID_TYPE_CMD_ACK     251
#define RCV_HID_TYPE_CMD         254
#define RCV_HID_TYPE_DEVICE_ADDR 255

/*
 * Opcode ranges (byte [2] inside type 254 / echoed in ACK):
 *   1–200   Tracker remote (aligned with ESB_PONG_FLAG_* where possible)
 *   201–253 Dongle-local (skip 240–247 HID OTA report types)
 *   254     Reserved (envelope type itself)
 *
 * Legacy tracker stream types 0–7 stay outside this table.
 */

/* Tracker opcodes: use ESB_PONG_FLAG_* values directly (0x01–0x33). */
#define RCV_HID_OP_TRACKER_MIN 1
#define RCV_HID_OP_TRACKER_MAX 200

/* Dongle opcodes */
#define RCV_HID_OP_DONGLE_MIN 201
#define RCV_HID_OP_DONGLE_MAX 253

#define RCV_HID_OP_PAIR           201
#define RCV_HID_OP_EXIT_PAIR      202
#define RCV_HID_OP_CLEAR          203
#define RCV_HID_OP_ADD            204
#define RCV_HID_OP_REMOVE         205
#define RCV_HID_OP_LIST           206
#define RCV_HID_OP_CHANNEL_SET    207
#define RCV_HID_OP_CHANNEL_CLEAR  208
#define RCV_HID_OP_RSSI_SCAN      209
#define RCV_HID_OP_INFO           210
#define RCV_HID_OP_UPTIME         211
#define RCV_HID_OP_STATS          212
#define RCV_HID_OP_RESETSTATS     213
#define RCV_HID_OP_COLLECT_START  214
#define RCV_HID_OP_COLLECT_STOP   215
#define RCV_HID_OP_REBOOT         216
#define RCV_HID_OP_DFU            217
#define RCV_HID_OP_TRACKER_CH_ALL 218
#define RCV_HID_OP_TRACKER_CH_CLR 219
#define RCV_HID_OP_NOP            220
#define RCV_HID_OP_COLLECT_BATCH_START 221
#define RCV_HID_OP_COLLECT_BATCH_STOP  222
#define RCV_HID_OP_COLLECT_META        223
#define RCV_HID_OP_TRACKER_EVENTS      224
#define RCV_HID_OP_TRACKER_EVENT       225 /* IN only */
#define RCV_HID_OP_TRACKER_OBSERVATION 226 /* IN only */

/* HID OTA types occupy 0xF0–0xF7; never assign dongle opcodes here. */
#define RCV_HID_OTA_TYPE_MIN 0xF0
#define RCV_HID_OTA_TYPE_MAX 0xF7

/* Request flags (byte [3]) */
#define RCV_HID_FLAG_MORE 0x01

/* Target id 0xFF = all active trackers (console "all") */
#define RCV_HID_TARGET_ALL 0xFF

/* ACK status (byte [3] of type 251) */
#define RCV_HID_ST_OK       0
#define RCV_HID_ST_EINVAL   1
#define RCV_HID_ST_ENOSPC   2
#define RCV_HID_ST_EBUSY    3
#define RCV_HID_ST_ENOENT   4
#define RCV_HID_ST_ENOTSUP  5
#define RCV_HID_ST_QUEUED   6
#define RCV_HID_ST_STARTED  7

#define RCV_HID_CMD_LEN 16

/* WOM request: target [4], LE16 operation [5:7] (0=query, 1..35791=minutes,
 * ESB_WOM_TIMEOUT_CLEAR=clear saved override and restore exact firmware default,
 * ESB_WOM_ENTER=request immediate WOM admission).
 * ACK result: STARTED, kind [4]=1, id [5], LE16 value [6:8],
 * LE16 errno [8:10], LE16 receiver token [10:12].
 * Value=0 with errno=0 confirms clear; ESB_WOM_ENTER confirms entry admission,
 * not physical sleep. Otherwise value is timeout minutes; nonzero errno is failure.
 * ACK summary: OK/ENOENT, kind [4]=2, LE16 token [5:7],
 * LE32 success mask [7:11], LE32 failure mask [11:15].
 * Unused bytes are zero. All targets uses the active-tracker scan.
 */
#define RCV_HID_WOM_RESULT 1
#define RCV_HID_WOM_SUMMARY 2

static inline bool rcv_hid_opcode_is_tracker(uint8_t op)
{
	return op >= RCV_HID_OP_TRACKER_MIN && op <= RCV_HID_OP_TRACKER_MAX;
}

static inline bool rcv_hid_opcode_is_dongle(uint8_t op)
{
	if (op < RCV_HID_OP_DONGLE_MIN || op > RCV_HID_OP_DONGLE_MAX) {
		return false;
	}
	if (op >= RCV_HID_OTA_TYPE_MIN && op <= RCV_HID_OTA_TYPE_MAX) {
		return false;
	}
	return true;
}

static inline bool rcv_hid_opcode_is_pong_flag(uint8_t op)
{
	switch (op) {
	case ESB_PONG_FLAG_SHUTDOWN:
	case ESB_PONG_FLAG_CALIBRATE:
	case ESB_PONG_FLAG_CALIBRATE_ACC:
	case ESB_PONG_FLAG_MEOW:
	case ESB_PONG_FLAG_SCAN:
	case ESB_PONG_FLAG_MAG_CLEAR:
	case ESB_PONG_FLAG_REBOOT:
	case ESB_PONG_FLAG_CLEAR:
	case ESB_PONG_FLAG_DFU:
	case ESB_PONG_FLAG_SET_CHANNEL:
	case ESB_PONG_FLAG_CLEAR_CHANNEL:
	case ESB_PONG_FLAG_SENS_SET:
	case ESB_PONG_FLAG_SENS_RESET:
	case ESB_PONG_FLAG_RESET_ZRO:
	case ESB_PONG_FLAG_RESET_ACC:
	case ESB_PONG_FLAG_RESET_BAT:
	case ESB_PONG_FLAG_PING:
	case ESB_PONG_FLAG_RESET_TCAL:
	case ESB_PONG_FLAG_TCAL_AUTO_ON:
	case ESB_PONG_FLAG_TCAL_AUTO_OFF:
	case ESB_PONG_FLAG_FUSION_RESET:
	case ESB_PONG_FLAG_TCAL_BOOT_ON:
	case ESB_PONG_FLAG_TCAL_BOOT_OFF:
	case ESB_PONG_FLAG_MAG_CAL:
	case ESB_PONG_FLAG_MAG_ON:
	case ESB_PONG_FLAG_MAG_OFF:
	case ESB_PONG_FLAG_TCAL_ON:
	case ESB_PONG_FLAG_TCAL_OFF:
	case ESB_PONG_FLAG_TDMA_ON:
	case ESB_PONG_FLAG_TDMA_OFF:
	case ESB_PONG_FLAG_TEST_MODE_ON:
	case ESB_PONG_FLAG_TEST_MODE_OFF:
	case ESB_PONG_FLAG_DFU_OTA:
	case ESB_PONG_FLAG_DATA_COLLECT_ON:
	case ESB_PONG_FLAG_DATA_COLLECT_OFF:
	case ESB_PONG_FLAG_SENS_AUTO:
	case ESB_PONG_FLAG_MAG_AUTO_ON:
	case ESB_PONG_FLAG_MAG_AUTO_OFF:
	case ESB_PONG_FLAG_MAG_HOLD:
	case ESB_PONG_FLAG_MAG_UNHOLD:
	case ESB_PONG_FLAG_TCAL_HEATED_START:
	case ESB_PONG_FLAG_WOM_CONTROL:
	case ESB_PONG_FLAG_OTA_QUERY_INFO:
	case ESB_PONG_FLAG_OTA_ABORT:
	case ESB_PONG_FLAG_OTA_SUPPRESS:
	case ESB_PONG_FLAG_OTA_UNSUPPRESS:
		return true;
	default:
		return false;
	}
}

#endif
```
